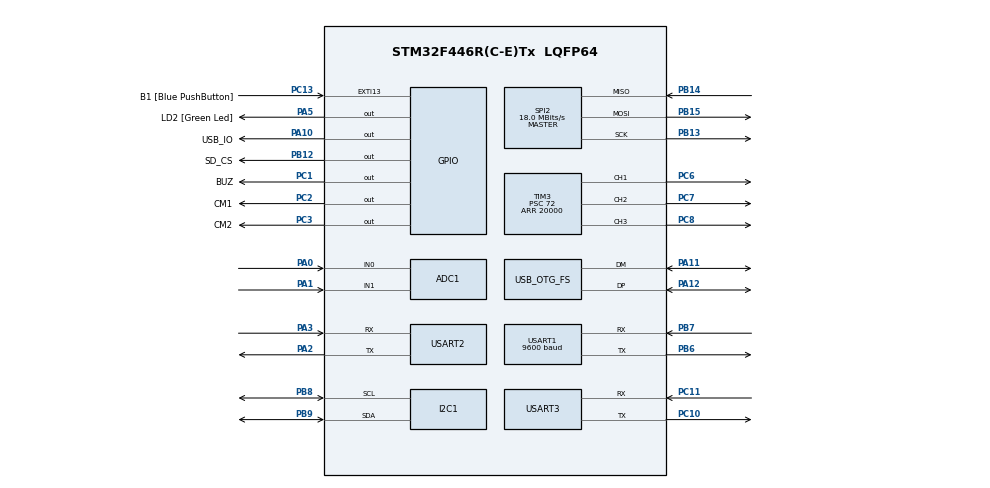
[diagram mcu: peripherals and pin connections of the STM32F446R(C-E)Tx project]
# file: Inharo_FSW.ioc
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ADC1.Channel-0\#ChannelRegularConversion=ADC_CHANNEL_0
ADC1.Channel-1\#ChannelRegularConversion=ADC_CHANNEL_1
ADC1.DiscontinuousConvMode=ENABLE
ADC1.NbrOfConversion=2
ADC1.NbrOfConversionFlag=1
ADC1.Rank-0\#ChannelRegularConversion=1
ADC1.Rank-1\#ChannelRegularConversion=2
ADC1.SamplingTime-0\#ChannelRegularConversion=ADC_SAMPLETIME_3CYCLES
ADC1.SamplingTime-1\#ChannelRegularConversion=ADC_SAMPLETIME_3CYCLES
ADC1.ScanConvMode=ENABLE
ADC1.master=1
Dma.Request0=USART3_RX
Dma.Request1=USART1_RX
Dma.USART1_RX.1.Direction=DMA_PERIPH_TO_MEMORY
Dma.USART1_RX.1.FIFOMode=DMA_FIFOMODE_DISABLE
Dma.USART1_RX.1.Instance=DMA2_Stream2
Dma.USART1_RX.1.MemDataAlignment=DMA_MDATAALIGN_BYTE
Dma.USART1_RX.1.MemInc=DMA_MINC_ENABLE
Dma.USART1_RX.1.Mode=DMA_CIRCULAR
Dma.USART1_RX.1.PeriphDataAlignment=DMA_PDATAALIGN_BYTE
Dma.USART1_RX.1.PeriphInc=DMA_PINC_DISABLE
Dma.USART1_RX.1.Priority=DMA_PRIORITY_VERY_HIGH
Dma.USART3_RX.0.Direction=DMA_PERIPH_TO_MEMORY
Dma.USART3_RX.0.FIFOMode=DMA_FIFOMODE_DISABLE
Dma.USART3_RX.0.Instance=DMA1_Stream1
Dma.USART3_RX.0.MemDataAlignment=DMA_MDATAALIGN_BYTE
Dma.USART3_RX.0.MemInc=DMA_MINC_ENABLE
Dma.USART3_RX.0.Mode=DMA_CIRCULAR
Dma.USART3_RX.0.PeriphDataAlignment=DMA_PDATAALIGN_BYTE
Dma.USART3_RX.0.PeriphInc=DMA_PINC_DISABLE
Dma.USART3_RX.0.Priority=DMA_PRIORITY_VERY_HIGH
FREERTOS.BinarySemaphores01=TransmitSemaphore,Dynamic,NULL;ReceiveSemaphore,Dynamic,NULL
FREERTOS.Events01=CommandEvent,Dynamic,NULL;EventReceive,Dynamic,NULL
FREERTOS.Tasks01=Main,24,128,vMainTask,Default,NULL,Dynamic,NULL,NULL;GPS,24,128,vGPSTask,Default,NULL,Dynamic,NULL,NULL;StateManaging,48,128,vStateManagingTask,Default,NULL,Dynamic,NULL,NULL;Receive,40,128,vReceiveTask,Default,NULL,Dynamic,NULL,NULL;Debug,8,128,vDebugTask,Default,NULL,Dynamic,NULL,NULL;TransmitLoop,8,128,vTransmitLoopTask,Default,NULL,Dynamic,NULL,NULL
FREERTOS.Timers01=SensorReading,vSensorReadingCallback,osTimerPeriodic,Default,NULL,Dynamic,NULL;Transmit,vTransmitCallback,osTimerPeriodic,Default,NULL,Dynamic,NULL
FREERTOS.configENABLE_FPU=1
FREERTOS.configTIMER_TASK_PRIORITY=6
FREERTOS.configUSE_NEWLIB_REENTRANT=1
I2C1.I2C_Mode=I2C_Fast
Mcu.Family=STM32F4
Mcu.Name=STM32F446R(C-E)Tx
Mcu.Package=LQFP64
NVIC.DMA1_Stream1_IRQn=true\:5\:0\:false\:false\:true\:true\:false\:true\:true
NVIC.DMA2_Stream2_IRQn=true\:5\:0\:false\:false\:true\:true\:false\:true\:true
NVIC.OTG_FS_IRQn=true\:5\:0\:false\:false\:true\:true\:false\:true\:true
NVIC.PriorityGroup=NVIC_PRIORITYGROUP_4
NVIC.TIM6_DAC_IRQn=true\:15\:0\:false\:false\:true\:false\:false\:true\:true
NVIC.TimeBase=TIM6_DAC_IRQn
NVIC.TimeBaseIP=TIM6
NVIC.USART1_IRQn=true\:5\:0\:false\:false\:true\:true\:true\:true\:true
NVIC.USART3_IRQn=true\:5\:0\:false\:false\:true\:true\:true\:true\:true
PA0-WKUP.Signal=ADCx_IN0
PA1.Signal=ADCx_IN1
PA10.GPIO_Label=USB_IO
PA10.Signal=GPIO_Output
PA11.Mode=Device_Only
PA11.Signal=USB_OTG_FS_DM
PA12.Mode=Device_Only
PA12.Signal=USB_OTG_FS_DP
PA13.Mode=Trace_Asynchronous_SW
PA13.Signal=SYS_JTMS-SWDIO
PA14.Mode=Trace_Asynchronous_SW
PA14.Signal=SYS_JTCK-SWCLK
PA2.Mode=Asynchronous
PA2.Signal=USART2_TX
PA3.Mode=Asynchronous
PA3.Signal=USART2_RX
PA5.GPIO_Label=LD2 [Green Led]
PA5.Signal=GPIO_Output
PB12.GPIO_Label=SD_CS
PB12.GPIO_Speed=GPIO_SPEED_FREQ_VERY_HIGH
PB12.Signal=GPIO_Output
PB13.Mode=Full_Duplex_Master
PB13.Signal=SPI2_SCK
PB14.Mode=Full_Duplex_Master
PB14.Signal=SPI2_MISO
PB15.Mode=Full_Duplex_Master
PB15.Signal=SPI2_MOSI
PB3.Mode=Trace_Asynchronous_SW
PB3.Signal=SYS_JTDO-SWO
PB6.Mode=Asynchronous
PB6.Signal=USART1_TX
PB7.Mode=Asynchronous
PB7.Signal=USART1_RX
PB8.Mode=I2C
PB8.Signal=I2C1_SCL
PB9.Mode=I2C
PB9.Signal=I2C1_SDA
PC1.GPIO_Label=BUZ
PC1.Signal=GPIO_Output
PC10.Mode=Asynchronous
PC10.Signal=USART3_TX
PC11.Mode=Asynchronous
PC11.Signal=USART3_RX
PC13.GPIO_Label=B1 [Blue PushButton]
PC13.GPIO_ModeDefaultEXTI=GPIO_MODE_IT_FALLING
PC13.Signal=GPXTI13
PC14-OSC32_IN.Mode=LSE-External-Oscillator
PC14-OSC32_IN.Signal=RCC_OSC32_IN
PC15-OSC32_OUT.Mode=LSE-External-Oscillator
PC15-OSC32_OUT.Signal=RCC_OSC32_OUT
PC2.GPIO_Label=CM1
PC2.Signal=GPIO_Output
PC3.GPIO_Label=CM2
PC3.Signal=GPIO_Output
PC6.Signal=S_TIM3_CH1
PC7.Signal=S_TIM3_CH2
PC8.Signal=S_TIM3_CH3
PH0-OSC_IN.Mode=HSE-External-Oscillator
PH0-OSC_IN.Signal=RCC_OSC_IN
PH1-OSC_OUT.Mode=HSE-External-Oscillator
PH1-OSC_OUT.Signal=RCC_OSC_OUT
ProjectManager.HeapSize=0x200
ProjectManager.StackSize=0x400
ProjectManager.TargetToolchain=STM32CubeIDE
RCC.AHBFreq_Value=72000000
RCC.APB1CLKDivider=RCC_HCLK_DIV2
RCC.APB1Freq_Value=36000000
RCC.APB1TimFreq_Value=72000000
RCC.APB2Freq_Value=72000000
RCC.APB2TimFreq_Value=72000000
RCC.CortexFreq_Value=72000000
RCC.HCLKFreq_Value=72000000
RCC.HSE_VALUE=12000000
RCC.PLLM=6
RCC.PLLN=72
RCC.PLLQ=3
RCC.RCC_RTC_Clock_SourceVirtual=RCC_RTCCLKSOURCE_LSE
RCC.SYSCLKFreq_VALUE=72000000
RCC.SYSCLKSource=RCC_SYSCLKSOURCE_PLLCLK
RCC.USBFreq_Value=48000000
RCC.VCOOutputFreq_Value=144000000
SH.ADCx_IN0.0=ADC1_IN0,IN0
SH.ADCx_IN1.0=ADC1_IN1,IN1
SH.S_TIM3_CH1.0=TIM3_CH1,PWM Generation1 CH1
SH.S_TIM3_CH2.0=TIM3_CH2,PWM Generation2 CH2
SH.S_TIM3_CH3.0=TIM3_CH3,PWM Generation3 CH3
SPI2.CalculateBaudRate=18.0 MBits/s
SPI2.Direction=SPI_DIRECTION_2LINES
SPI2.Mode=SPI_MODE_MASTER
SPI2.VirtualType=VM_MASTER
TIM3.Channel-PWM\ Generation1\ CH1=TIM_CHANNEL_1
TIM3.Channel-PWM\ Generation2\ CH2=TIM_CHANNEL_2
TIM3.Channel-PWM\ Generation3\ CH3=TIM_CHANNEL_3
TIM3.Period=20000
TIM3.Prescaler=72
USART1.BaudRate=9600
USART1.VirtualMode=VM_ASYNC
USART2.VirtualMode=VM_ASYNC
USART3.VirtualMode=VM_ASYNC
USB_DEVICE.CLASS_NAME_FS=CDC
USB_DEVICE.VirtualMode-CDC_FS=Cdc
USB_DEVICE.VirtualModeFS=Cdc_FS
USB_OTG_FS.VirtualMode=Device_Only
VP_FATFS_VS_Generic.Mode=User_defined
VP_FREERTOS_VS_CMSIS_V2.Mode=CMSIS_V2
VP_RTC_VS_RTC_Activate.Mode=RTC_Enabled
VP_RTC_VS_RTC_Calendar.Mode=RTC_Calendar
VP_SYS_VS_tim6.Mode=TIM6
VP_TIM3_VS_ClockSourceINT.Mode=Internal
VP_USB_DEVICE_VS_USB_DEVICE_CDC_FS.Mode=CDC_FS
board=custom

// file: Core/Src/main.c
/* USER CODE BEGIN Header */
/**
  ******************************************************************************
  * @file           : main.c
  * @brief          : Main program body
  ******************************************************************************
  * @attention
  *
  * Copyright (c) 2024 STMicroelectronics.
  * All rights reserved.
  *
  * This software is licensed under terms that can be found in the LICENSE file
  * in the root directory of this software component.
  * If no LICENSE file comes with this software, it is provided AS-IS.
  *
  ******************************************************************************
  */
/* USER CODE END Header */
#include "main.h"
#include "cmsis_os.h"
#include "fatfs.h"
#include "usb_device.h"

/* USER CODE BEGIN Includes */
#include "type.h"
#include <math.h>
#include "converter.h"
#include "circularBuffer.h"
#include "command.h"
/* USER CODE END Includes */

/* USER CODE BEGIN PTD */
typedef struct{
	// bmp390, scale: 100
	float altitude;
	float s_altitude;
	float temperature;
	uint64_t pressure;
	uint64_t s_pressure;
	// bno055
	double tilt_x;
	double tilt_y;
	double ang_x;
  double ang_y;
	double ang_z;
	double acc_x;
	double acc_y;
	double acc_z;
	double rot_x;
	double rot_y;
	double rot_z;
	double mag_x;
	double mag_y;
	double mag_z;
	// adc
	uint16_t adc_0;
	uint16_t adc_1;
	// battery voltage, scale: 100(x)
	float battery_voltage;
	// airspeed, scale: 100(x)
	float air_speed;
	uint8_t isUpdated;
}SensorDataContainerTypeDef;

typedef enum{
	CMD_ERR,
	CMD_ERR_ARG,
	CMD_ERR_COM,

	CMD_CX_ON,
	CMD_CX_OFF,

	CMD_ST_TIME,
	CMD_ST_GPS,

	CMD_SIM_ENABLE,
	CMD_SIM_ACTIVATE,
	CMD_SIM_DISABLE,

	CMD_SIMP,

	CMD_CAL,

	CMD_BCN_ON,
	CMD_BCN_OFF,

	CMD_DEP_HS,
	CMD_DEP_PC,

	CMD_REL_HS,

	CMD_TEST,

	CMD_INIT,

	CMD_RESET
}CMD_CommandCaseTypeDef;
/* USER CODE END PTD */

/* USER CODE BEGIN PD */
//#define DEBUG_MODE 1

#define ALTITUDE_POWER_COEFFICIENT ( (double) 0.190263105239812 )
#define ALTITUDE_PRODUCT_COEFFICIENT ( (double) -4.433076923076923e+4)
double r_pressure_sea_level = 1.0 / ( 101325.0 * 100.0 );

// scale 1
#define VEHICLE_ASCENT_THRESHOLD 	5
#define VEHICLE_HS_THRESHOLD 			10
#define VEHICLE_PC_THRESHOLD 			100
#define VEHICLE_LAND_THRESHOLD 		1

/* USER CODE END PD */

/* Definitions for Main */
osThreadId_t MainHandle;
const osThreadAttr_t Main_attributes = {
  .name = "Main",
  .stack_size = 128 * 8,
  .priority = (osPriority_t) osPriorityNormal,
};
/* Definitions for GPS */
osThreadId_t GPSHandle;
const osThreadAttr_t GPS_attributes = {
  .name = "GPS",
  .stack_size = 128 * 8,
  .priority = (osPriority_t) osPriorityNormal,
};
/* Definitions for StateManaging */
osThreadId_t StateManagingHandle;
const osThreadAttr_t StateManaging_attributes = {
  .name = "StateManaging",
  .stack_size = 128 * 8,
  .priority = (osPriority_t) osPriorityRealtime,
};
/* Definitions for Receive */
osThreadId_t ReceiveHandle;
const osThreadAttr_t Receive_attributes = {
  .name = "Receive",
  .stack_size = 128 * 8,
  .priority = (osPriority_t) osPriorityHigh,
};
/* Definitions for Debug */
osThreadId_t DebugHandle;
const osThreadAttr_t Debug_attributes = {
  .name = "Debug",
  .stack_size = 128 * 8,
  .priority = (osPriority_t) osPriorityLow,
};
/* Definitions for TransmitLoop */
osThreadId_t TransmitLoopHandle;
const osThreadAttr_t TransmitLoop_attributes = {
  .name = "TransmitLoop",
  .stack_size = 128 * 8,
  .priority = (osPriority_t) osPriorityLow,
};
/* Definitions for SensorReading */
osTimerId_t SensorReadingHandle;
const osTimerAttr_t SensorReading_attributes = {
  .name = "SensorReading"
};
/* Definitions for Transmit */
osTimerId_t TransmitHandle;
const osTimerAttr_t Transmit_attributes = {
  .name = "Transmit"
};
/* Definitions for TransmitSemaphore */
osSemaphoreId_t TransmitSemaphoreHandle;
const osSemaphoreAttr_t TransmitSemaphore_attributes = {
  .name = "TransmitSemaphore"
};
/* Definitions for ReceiveSemaphore */
osSemaphoreId_t ReceiveSemaphoreHandle;
const osSemaphoreAttr_t ReceiveSemaphore_attributes = {
  .name = "ReceiveSemaphore"
};
/* Definitions for CommandEvent */
osEventFlagsId_t CommandEventHandle;
const osEventFlagsAttr_t CommandEvent_attributes = {
  .name = "CommandEvent"
};
/* Definitions for EventReceive */
osEventFlagsId_t EventReceiveHandle;
const osEventFlagsAttr_t EventReceive_attributes = {
  .name = "EventReceive"
};
/* USER CODE BEGIN PV */

Servo_HandleTypeDef hservo1, hservo2, hservo3;
USB_Buffer_Type usb_rx_buffer;

// System Command Variable
uint8_t isCommunication	 		= IH_CX_OFF;
uint8_t isTimeSetGPS 		 		= FALSE;
uint8_t isSimulationMode 		= FALSE;
uint8_t isSimulationEnable 	= FALSE;
uint32_t sim_pressure = 10132500;

//
SensorDataContainerTypeDef sensor_data_container = {0, };
VehicleStateTypeDef vehicle_state = VEHICLE_RESET;
CommandEcho cmd_echo = 0;
uint8_t isHSDeployed = FALSE;
uint8_t isPCDeployed = FALSE;

uint8_t IH_UART1_headerPass = 0;
uint8_t IH_UART1_pMessage = 0;
uint8_t IH_UART1_byteBuf = 0;
uint8_t IH_UART1_buf[IH_UART1_MAX_LENGTH] ={0,};

// Communication definition;
uint32_t packetCount = 1;
uint8_t uart1_rx_buffer[1];
uint8_t uart3_rx_buffer[1];
uint32_t receive_tick;
XBEE_Packet_Buffer xbee_rx_buffer;
GPS_Packet_Buffer gps_rx_buffer;
TLE_Circular_Buffer cb_tle;
uint16_t ack_packet = 0;

// XBee Sample
uint8_t tx_packet[PACKET_SIZE];
Telemetry telemetry;

// GPS
GPS_DataTypeDef gps_data;

/* USER CODE END PV */

void vMainTask(void *argument);
void vGPSTask(void *argument);
void vStateManagingTask(void *argument);
void vReceiveTask(void *argument);
void vDebugTask(void *argument);
void vTransmitLoopTask(void *argument);
void vSensorReadingCallback(void *argument);
void vTransmitCallback(void *argument);

/* USER CODE BEGIN PFP */
static void _BMP390_Init(void);
static void _BNO055_Init(void);
static void _SD_Init(void);
static void _Servo_Init(void);
void Calibrate(void);
void Backup(void);
void BackupRecovery(void);

uint8_t CDC_Transmit_FS(uint8_t* Buf, uint16_t Len);
/* USER CODE END PFP */

int main(void)
{

  /* MCU Configuration--------------------------------------------------------*/

  /* Reset of all peripherals, Initializes the Flash interface and the Systick. */
  HAL_Init();

  /* Configure the system clock */
  SystemClock_Config();

  /* Initialize all configured peripherals */
  MX_GPIO_Init();
  MX_DMA_Init();
  MX_ADC1_Init();
  MX_I2C1_Init();
  MX_RTC_Init();
  MX_SPI2_Init();
  MX_TIM3_Init();
  MX_USART1_UART_Init();
  MX_USART2_UART_Init();
  MX_USART3_UART_Init();
  MX_FATFS_Init();
  /* USER CODE BEGIN 2 */
  logi("Initializing...");

  _BMP390_Init();
  _BNO055_Init();
  _SD_Init();
  _Servo_Init();

  cb_init(&cb_tle, TLE_Circular_Buffer_Size, sizeof(Telemetry));
  logi("Initialized");

  /* USER CODE END 2 */

  /* Init scheduler */
  osKernelInitialize();

  /* Create the semaphores(s) */
  /* creation of TransmitSemaphore */
  TransmitSemaphoreHandle = osSemaphoreNew(1, 1, &TransmitSemaphore_attributes);

  /* creation of ReceiveSemaphore */
  ReceiveSemaphoreHandle = osSemaphoreNew(1, 1, &ReceiveSemaphore_attributes);

  /* Create the timer(s) */
  /* creation of SensorReading */
  SensorReadingHandle = osTimerNew(vSensorReadingCallback, osTimerPeriodic, NULL, &SensorReading_attributes);

  /* creation of Transmit */
  TransmitHandle = osTimerNew(vTransmitCallback, osTimerPeriodic, NULL, &Transmit_attributes);

  /* USER CODE BEGIN RTOS_TIMERS */
  /* start timers, add new ones, ... */
  osTimerStart(SensorReadingHandle, 500);
  osTimerStart(TransmitHandle, 900);
  /* USER CODE END RTOS_TIMERS */

  /* Create the thread(s) */
  /* creation of Main */
  MainHandle = osThreadNew(vMainTask, NULL, &Main_attributes);

  /* creation of GPS */
  GPSHandle = osThreadNew(vGPSTask, NULL, &GPS_attributes);

  /* creation of StateManaging */
  StateManagingHandle = osThreadNew(vStateManagingTask, NULL, &StateManaging_attributes);

  /* creation of Receive */
  ReceiveHandle = osThreadNew(vReceiveTask, NULL, &Receive_attributes);

  /* creation of Debug */
  DebugHandle = osThreadNew(vDebugTask, NULL, &Debug_attributes);

  /* creation of TransmitLoop */
  TransmitLoopHandle = osThreadNew(vTransmitLoopTask, NULL, &TransmitLoop_attributes);

  /* Create the event(s) */
  /* creation of CommandEvent */
  CommandEventHandle = osEventFlagsNew(&CommandEvent_attributes);

  /* creation of EventReceive */
  EventReceiveHandle = osEventFlagsNew(&EventReceive_attributes);

  /* Start scheduler */
  osKernelStart();
  /* We should never get here as control is now taken by the scheduler */
  /* Infinite loop */
  while (1)
  {

  }
}

/* USER CODE BEGIN 4 */

void HAL_UART_RxCpltCallback(UART_HandleTypeDef *huart)
{
	// USART1 - GPS Communication
	// USART3 - XBEE Communication
  if(huart->Instance == USART3)
  {
  	// Buffer Timeout
  	if(HAL_GetTick() - receive_tick > 100) {
  		xbee_rx_buffer.isReceiving = FALSE;
  		receive_tick = HAL_GetTick();
  	}

  	// Header Byte Detection
  	if(xbee_rx_buffer.isReceiving == FALSE) {
  		if(uart3_rx_buffer[0] == IH_UART3_HEADER){
  			memset(&xbee_rx_buffer,0, sizeof(xbee_rx_buffer));
  			xbee_rx_buffer.isReceiving = TRUE;
  	  	++xbee_rx_buffer.pos;
  		}
  		return;
  	}

  	// Get Data(0~1 : Length, 2~n : Data, n+1 : Checksum)
  	if(xbee_rx_buffer.pos == 0) {
  		xbee_rx_buffer.length = 0;
  	} else if(xbee_rx_buffer.pos == 1) {
  		xbee_rx_buffer.length = uart3_rx_buffer[0] * 0xFF;
  	} else if(xbee_rx_buffer.pos == 2) {
  		xbee_rx_buffer.length += uart3_rx_buffer[0];

  		// Invalid length data
  	  if(xbee_rx_buffer.length >= PACKET_SIZE) {
  	  	xbee_rx_buffer.isReceiving = FALSE;
  	  }
  	} else if(xbee_rx_buffer.pos < xbee_rx_buffer.length + IH_UART3_HEADER_OFFSET){
  		xbee_rx_buffer.buffer[xbee_rx_buffer.pos-IH_UART3_HEADER_OFFSET] = uart3_rx_buffer[0];
  		xbee_rx_buffer.checksum += uart3_rx_buffer[0];
  	} else if(xbee_rx_buffer.pos >= xbee_rx_buffer.length + IH_UART3_HEADER_OFFSET) {
  		// Checksum
  		xbee_rx_buffer.checksum = (uint8_t) xbee_rx_buffer.checksum;
			xbee_rx_buffer.checksum = 0xFF - xbee_rx_buffer.checksum;

			// Set Event Flags
			if(osSemaphoreAcquire(ReceiveSemaphoreHandle, 0) == osOK) {
				if (xbee_rx_buffer.checksum == uart3_rx_buffer[0]) {
					osEventFlagsSet(EventReceiveHandle, EVENT_RECEIVE_XBEE | EVENT_RECEIVE_SUCCESS);
				} else {
					osEventFlagsSet(EventReceiveHandle, EVENT_RECEIVE_XBEE | EVENT_RECEIVE_FAIL);
				}
				osSemaphoreRelease(ReceiveSemaphoreHandle);
			}
			xbee_rx_buffer.isReceiving = FALSE;
			return;
  	}

  	++xbee_rx_buffer.pos;

  	// Unlock Buffer
  	osSemaphoreRelease(ReceiveSemaphoreHandle);
  }
  else if(huart->Instance == USART1) {
#ifdef GET_GPS
  	CDC_Transmit_FS(uart1_rx_buffer, 1);
#endif
		// Buffer Timeout
		if (HAL_GetTick() - receive_tick > 100) {
			gps_rx_buffer.isReceiving = FALSE;
			receive_tick = HAL_GetTick();
		}

		// Header Byte Detection
		if(gps_rx_buffer.isReceiving == FALSE) {
			if(uart1_rx_buffer[0] == IH_UART1_HEADER){
				memset(&gps_rx_buffer,0, sizeof(gps_rx_buffer));
				gps_rx_buffer.isReceiving = TRUE;
				++gps_rx_buffer.pos;
			}
			return;
		}

		// Get DeviceID
		if(gps_rx_buffer.pos == 1) {
			gps_rx_buffer.deviceID[0] = uart1_rx_buffer[0];
		} else if(gps_rx_buffer.pos == 2) {
			gps_rx_buffer.deviceID[1] = uart1_rx_buffer[0];
		}
		// Get SentenceID
		else if(gps_rx_buffer.pos == 3) {
			gps_rx_buffer.sentenceID[0] = uart1_rx_buffer[0];
		} else if(gps_rx_buffer.pos == 4) {
			gps_rx_buffer.sentenceID[1] = uart1_rx_buffer[0];
		} else if(gps_rx_buffer.pos == 5) {
			gps_rx_buffer.sentenceID[2] = uart1_rx_buffer[0];
		}
		// Get Checksum
		else if(gps_rx_buffer.pos == UINT16_MAX-1) {
			gps_rx_buffer.chk[0] = uart1_rx_buffer[0];
			++gps_rx_buffer.pos;
			return;
		} else if(gps_rx_buffer.pos == UINT16_MAX) {
			gps_rx_buffer.chk[1] = uart1_rx_buffer[0];

			// Set Event Flags
			if (osSemaphoreAcquire(ReceiveSemaphoreHandle, 0) == osOK) {
				if (gps_rx_buffer.checksum == HexCharToByte(gps_rx_buffer.chk[0], gps_rx_buffer.chk[1])) {
					osEventFlagsSet(EventReceiveHandle, EVENT_RECEIVE_GPS | EVENT_RECEIVE_SUCCESS);
				} else {
					osEventFlagsSet(EventReceiveHandle, EVENT_RECEIVE_GPS | EVENT_RECEIVE_FAIL);
				}
				osSemaphoreRelease(ReceiveSemaphoreHandle);
			}

			gps_rx_buffer.isReceiving = FALSE;
			return;
		}
		// Get Data
		else if(gps_rx_buffer.pos > 5) {
			// Invalid length
			if(gps_rx_buffer.pos - IH_UART1_HEADER_OFFSET >= PACKET_SIZE) {
				gps_rx_buffer.isReceiving = FALSE;
				return;
			}

			// Termination
			if(uart1_rx_buffer[0] == IH_UART1_TERMINATOR) {
				gps_rx_buffer.pos = UINT16_MAX-1;
				return;
			}

			// Data Write
			gps_rx_buffer.buffer[gps_rx_buffer.pos - IH_UART1_HEADER_OFFSET] = uart1_rx_buffer[0];
			++gps_rx_buffer.length;
		}
		//Checksum and Increment
		gps_rx_buffer.checksum ^= uart1_rx_buffer[0];
		++gps_rx_buffer.pos;

  }

}

static void _BMP390_Init(void){
	BMP390_AssignI2C(&hi2c1);
	BMP390_Init();
}
static void _BNO055_Init(void){
	bno055_assignI2C(&hi2c1);
	bno055_setup();
	bno055_setOperationModeNDOF();
}
static void _SD_Init(void){
	SD_Assign(&hspi2);
	retUSER = f_mount(&USERFatFS, USERPath, 1);
	if ( retUSER != FR_OK ) {
		loge("SD Init Fail");
	}
}
static void _Servo_Init(void){
	Servo_Attach(&hservo1, &htim3, TIM_CHANNEL_1);	// heat shield deploy servo
	Servo_Attach(&hservo2, &htim3, TIM_CHANNEL_2);	// heat shield release servo
	Servo_Attach(&hservo3, &htim3, TIM_CHANNEL_3);	// parachute deploy servo
	HAL_TIM_PWM_Start_IT(&htim3, TIM_CHANNEL_1);
	HAL_TIM_PWM_Start_IT(&htim3, TIM_CHANNEL_2);
	HAL_TIM_PWM_Start_IT(&htim3, TIM_CHANNEL_3);
	Servo_Write(&hservo1, 0);
	Servo_Write(&hservo2, 180);
	Servo_Write(&hservo3, 0);
}

void Calibrate(void){
	if(osSemaphoreAcquire(TransmitSemaphoreHandle, 100) != osOK) {
		return;
	}
	bno055_calibration_data_t bno055_cal_data;

	uint32_t cal_zero_altitude0 = 0;
	uint32_t cal_zero_altitude1 = 0;
	uint32_t	cal_zero_velocity0 = 0;
	uint32_t	cal_zero_velocity1 = 0;
	uint32_t	cal_gyro_ofst_x_gyro_ofst_y = 0;
	uint32_t	cal_gyro_ofst_z_mag_ofst_x = 0;
	uint32_t	cal_mag_ofst_y_mag_ofst_z = 0;
	uint32_t	cal_acc_ofst_x_acc_ofst_y = 0;
	uint32_t	cal_acc_ofst_z_reserved = 0;
	uint32_t	cal_rad_mag_rad_acc = 0;

	// get bno055 calibration data
	//if(bno055_getCalibrationState().sys < 0x03) return 1; // 주석  ??   ?
//	if(bno055_getCalibrationState() < 0x02) return 1;
//	if(bno055_getCalibrationState() < 0x01) return 1;
	bno055_cal_data = bno055_getCalibrationData();

	// zero altitude calibration; simulation pressure is calibrated when first SIMP command received
	r_pressure_sea_level = 1.0 / sensor_data_container.pressure;

	// calibrate velocity calculation
	DP_calcCalibrationFromADC(sensor_data_container.adc_1);

	// make calibration data for RTC backup register
	union{
		double  val_double;
		uint32_t val_uint32[2];
	}double_to_uint32;

	union{
		int16_t val_int16[2];
		uint32_t val_uint32;
	}int16_to_uint32;

	union{
		uint16_t val_uint16[2];
		uint32_t val_uint32;
	}uint16_to_uint32;

	double_to_uint32.val_double 		= r_pressure_sea_level;
	cal_zero_altitude0 							= double_to_uint32.val_uint32[0];
	cal_zero_altitude1 							= double_to_uint32.val_uint32[1];

	double_to_uint32.val_double 		= DP_getCalibration();
	cal_zero_velocity0 							= double_to_uint32.val_uint32[0];
	cal_zero_velocity1 							= double_to_uint32.val_uint32[1];

	int16_to_uint32.val_int16[0] 		= bno055_cal_data.offset.gyro.x;
	int16_to_uint32.val_int16[1] 		= bno055_cal_data.offset.gyro.y;
	cal_gyro_ofst_x_gyro_ofst_y 		= int16_to_uint32.val_uint32;

	int16_to_uint32.val_int16[0] 		= bno055_cal_data.offset.gyro.z;
	int16_to_uint32.val_int16[1] 		= bno055_cal_data.offset.mag.x;
	cal_gyro_ofst_z_mag_ofst_x  		=	int16_to_uint32.val_uint32;

	int16_to_uint32.val_int16[0] 		= bno055_cal_data.offset.mag.y;
	int16_to_uint32.val_int16[1] 		= bno055_cal_data.offset.mag.z;
	cal_mag_ofst_y_mag_ofst_z   		= int16_to_uint32.val_uint32;

	int16_to_uint32.val_int16[0] 		= bno055_cal_data.offset.accel.x;
	int16_to_uint32.val_int16[1] 		= bno055_cal_data.offset.accel.y;
	cal_acc_ofst_x_acc_ofst_y   		= int16_to_uint32.val_uint32;

	int16_to_uint32.val_int16[0] 		= bno055_cal_data.offset.accel.z;
	int16_to_uint32.val_int16[1] 		= 0;
	cal_acc_ofst_z_reserved     		= int16_to_uint32.val_uint32;

	uint16_to_uint32.val_uint16[0] 	= bno055_cal_data.radius.mag;
	uint16_to_uint32.val_uint16[1] 	= bno055_cal_data.radius.accel;
	cal_rad_mag_rad_acc     				= uint16_to_uint32.val_uint32;

	// save calibration data
  HAL_RTCEx_BKUPWrite(&hrtc, RTC_BKP_DR2,		cal_zero_altitude0);
  HAL_RTCEx_BKUPWrite(&hrtc, RTC_BKP_DR3,		cal_zero_altitude1);
  HAL_RTCEx_BKUPWrite(&hrtc, RTC_BKP_DR6,		cal_zero_velocity0);
  HAL_RTCEx_BKUPWrite(&hrtc, RTC_BKP_DR7,		cal_zero_velocity1);
  HAL_RTCEx_BKUPWrite(&hrtc, RTC_BKP_DR8,  	cal_gyro_ofst_x_gyro_ofst_y);
  HAL_RTCEx_BKUPWrite(&hrtc, RTC_BKP_DR9,  	cal_gyro_ofst_z_mag_ofst_x);
  HAL_RTCEx_BKUPWrite(&hrtc, RTC_BKP_DR10, 	cal_mag_ofst_y_mag_ofst_z);
  HAL_RTCEx_BKUPWrite(&hrtc, RTC_BKP_DR11, 	cal_acc_ofst_x_acc_ofst_y);
  HAL_RTCEx_BKUPWrite(&hrtc, RTC_BKP_DR12, 	cal_acc_ofst_z_reserved);
  HAL_RTCEx_BKUPWrite(&hrtc, RTC_BKP_DR13, 	cal_rad_mag_rad_acc);

  osSemaphoreRelease(TransmitSemaphoreHandle);
}

void Backup(void){
	if(osSemaphoreAcquire(TransmitSemaphoreHandle, 100) != osOK) {
			return;
	}

	bno055_calibration_data_t bno055_cal_data;
	uint32_t	bkp_vehicle =0;
	uint32_t	bkp_packet_count = 0;
	uint32_t 	cal_zero_altitude0 = 0;
	uint32_t 	cal_zero_altitude1 = 0;
	uint32_t 	cal_s_zero_altitude0 = 0;
	uint32_t 	cal_s_zero_altitude1 = 0;
	uint32_t	cal_zero_velocity0 = 0;
	uint32_t	cal_zero_velocity1 = 0;
	uint32_t	cal_gyro_ofst_x_gyro_ofst_y = 0;
	uint32_t	cal_gyro_ofst_z_mag_ofst_x = 0;
	uint32_t	cal_mag_ofst_y_mag_ofst_z = 0;
	uint32_t	cal_acc_ofst_x_acc_ofst_y = 0;
	uint32_t	cal_acc_ofst_z_reserved = 0;
	uint32_t	cal_rad_mag_rad_acc = 0;

	union{
		uint8_t 	val_uint8[4];
		uint32_t	val_uint32;
	}uint8_to_uint32;
	union{
		double 		val_double;
		uint32_t 	val_uint32[2];
	}double_to_uint32;
	union{
		int16_t 	val_int16[2];
		uint32_t 	val_uint32;
	}int16_to_uint32;
	union{
		int16_t 	val_uint16[2];
		uint32_t 	val_uint32;
	}uint16_to_uint32;

	uint8_to_uint32.val_uint8[0] 		= 0;
	uint8_to_uint32.val_uint8[1] 		= 0;
	uint8_to_uint32.val_uint8[2] 		= ( uint8_t ) vehicle_state;
//	uint8_to_uint32.val_uint8[3]	 	= ( uint8_t ) ( ( ( val_CX & 0x01 ) << 1 ) | 0x01 );
	uint8_to_uint32.val_uint8[3] 		= isCommunication;
	bkp_vehicle 										= uint8_to_uint32.val_uint32;

	bkp_packet_count 								= packetCount;

	double_to_uint32.val_double 		= r_pressure_sea_level;
	cal_zero_altitude0 							= double_to_uint32.val_uint32[0];
	cal_zero_altitude1 							= double_to_uint32.val_uint32[1];

//	double_to_uint32.val_double 	= r_s_pressure_sea_level;
//	cal_s_zero_altitude0 					= double_to_uint32.val_uint32[0];
//	cal_s_zero_altitude1 					= double_to_uint32.val_uint32[1];

	double_to_uint32.val_double			= DP_getCalibration();
	cal_zero_velocity0 							= double_to_uint32.val_uint32[0];
	cal_zero_velocity1 							= double_to_uint32.val_uint32[1];

	bno055_cal_data = bno055_getCalibrationData();

	int16_to_uint32.val_int16[0] 		= bno055_cal_data.offset.gyro.x;
	int16_to_uint32.val_int16[1] 		= bno055_cal_data.offset.gyro.y;
	cal_gyro_ofst_x_gyro_ofst_y 		= int16_to_uint32.val_uint32;

	int16_to_uint32.val_int16[0] 		= bno055_cal_data.offset.gyro.z;
	int16_to_uint32.val_int16[1] 		= bno055_cal_data.offset.mag.x;
	cal_gyro_ofst_z_mag_ofst_x  		=	int16_to_uint32.val_uint32;

	int16_to_uint32.val_int16[0] 		= bno055_cal_data.offset.mag.y;
	int16_to_uint32.val_int16[1] 		= bno055_cal_data.offset.mag.z;
	cal_mag_ofst_y_mag_ofst_z   		= int16_to_uint32.val_uint32;

	int16_to_uint32.val_int16[0] 		= bno055_cal_data.offset.accel.x;
	int16_to_uint32.val_int16[1] 		= bno055_cal_data.offset.accel.y;
	cal_acc_ofst_x_acc_ofst_y   		= int16_to_uint32.val_uint32;

	int16_to_uint32.val_int16[0] 		= bno055_cal_data.offset.accel.z;
	int16_to_uint32.val_int16[1] 		= 0;
	cal_acc_ofst_z_reserved     		= int16_to_uint32.val_uint32;

	uint16_to_uint32.val_uint16[0] 	= bno055_cal_data.radius.mag;
	uint16_to_uint32.val_uint16[1] 	= bno055_cal_data.radius.accel;
	cal_rad_mag_rad_acc     				= uint16_to_uint32.val_uint32;

	// save calibration data
  HAL_RTCEx_BKUPWrite(&hrtc, RTC_BKP_DR0,		bkp_vehicle);
  HAL_RTCEx_BKUPWrite(&hrtc, RTC_BKP_DR1,		bkp_packet_count);
  HAL_RTCEx_BKUPWrite(&hrtc, RTC_BKP_DR2,		cal_zero_altitude0);
  HAL_RTCEx_BKUPWrite(&hrtc, RTC_BKP_DR3,		cal_zero_altitude1);
  HAL_RTCEx_BKUPWrite(&hrtc, RTC_BKP_DR4,		cal_s_zero_altitude0);
  HAL_RTCEx_BKUPWrite(&hrtc, RTC_BKP_DR5,		cal_s_zero_altitude1);
  HAL_RTCEx_BKUPWrite(&hrtc, RTC_BKP_DR6,		cal_zero_velocity0);
  HAL_RTCEx_BKUPWrite(&hrtc, RTC_BKP_DR7,		cal_zero_velocity1);
  HAL_RTCEx_BKUPWrite(&hrtc, RTC_BKP_DR8,  	cal_gyro_ofst_x_gyro_ofst_y);
  HAL_RTCEx_BKUPWrite(&hrtc, RTC_BKP_DR9,  	cal_gyro_ofst_z_mag_ofst_x);
  HAL_RTCEx_BKUPWrite(&hrtc, RTC_BKP_DR10, 	cal_mag_ofst_y_mag_ofst_z);
  HAL_RTCEx_BKUPWrite(&hrtc, RTC_BKP_DR11, 	cal_acc_ofst_x_acc_ofst_y);
  HAL_RTCEx_BKUPWrite(&hrtc, RTC_BKP_DR12, 	cal_acc_ofst_z_reserved);
  HAL_RTCEx_BKUPWrite(&hrtc, RTC_BKP_DR13, 	cal_rad_mag_rad_acc);

  osSemaphoreRelease(TransmitSemaphoreHandle);
}

void BackupRecovery(void){
	if(osSemaphoreAcquire(TransmitSemaphoreHandle, 100) != osOK) {
				return;
	}

	bno055_calibration_data_t bno055_cal_data;
	uint32_t 	bkp_vehicle;
	uint32_t 	bkp_packet_count;
	uint32_t 	cal_zero_altitude0;
	uint32_t 	cal_zero_altitude1;
	uint32_t 	cal_s_zero_altitude0;
	uint32_t 	cal_s_zero_altitude1;
	uint32_t	cal_zero_velocity0;
	uint32_t	cal_zero_velocity1;
	uint32_t	cal_gyro_ofst_x_gyro_ofst_y;
	uint32_t	cal_gyro_ofst_z_mag_ofst_x;
	uint32_t	cal_mag_ofst_y_mag_ofst_z;
	uint32_t	cal_acc_ofst_x_acc_ofst_y;
	uint32_t	cal_acc_ofst_z_reserved;
	uint32_t	cal_rad_mag_rad_acc;

	// load calibration data / backup data
	bkp_vehicle 								= HAL_RTCEx_BKUPRead(&hrtc, RTC_BKP_DR0);
	bkp_packet_count 						= HAL_RTCEx_BKUPRead(&hrtc, RTC_BKP_DR1);
	cal_zero_altitude0 					= HAL_RTCEx_BKUPRead(&hrtc, RTC_BKP_DR2);
	cal_zero_altitude1 					= HAL_RTCEx_BKUPRead(&hrtc, RTC_BKP_DR3);
	cal_s_zero_altitude0 				= HAL_RTCEx_BKUPRead(&hrtc, RTC_BKP_DR4);
	cal_s_zero_altitude1 				= HAL_RTCEx_BKUPRead(&hrtc, RTC_BKP_DR5);
	cal_zero_velocity0 					= HAL_RTCEx_BKUPRead(&hrtc, RTC_BKP_DR6);
	cal_zero_velocity1 					= HAL_RTCEx_BKUPRead(&hrtc, RTC_BKP_DR7);
	cal_gyro_ofst_x_gyro_ofst_y	= HAL_RTCEx_BKUPRead(&hrtc, RTC_BKP_DR8);
	cal_gyro_ofst_z_mag_ofst_x 	= HAL_RTCEx_BKUPRead(&hrtc, RTC_BKP_DR9);
	cal_mag_ofst_y_mag_ofst_z 	= HAL_RTCEx_BKUPRead(&hrtc, RTC_BKP_DR10);
	cal_acc_ofst_x_acc_ofst_y 	= HAL_RTCEx_BKUPRead(&hrtc, RTC_BKP_DR11);
	cal_acc_ofst_z_reserved 		= HAL_RTCEx_BKUPRead(&hrtc, RTC_BKP_DR12);
	cal_rad_mag_rad_acc 				= HAL_RTCEx_BKUPRead(&hrtc, RTC_BKP_DR13);

	union{
		uint32_t	val_uint32;
		uint8_t 	val_uint8[4];
	}uint32_to_uint8;
	union{
		uint32_t 	val_uint32[2];
		double 		val_double;
	}uint32_to_double;
	union{
		uint32_t 	val_uint32;
		int16_t 	val_int16[2];
	}uint32_to_int16;
	union{
		uint32_t 	val_uint32;
		int16_t 	val_uint16[2];
	}uint32_to_uint16;

	uint32_to_uint8.val_uint32 = bkp_vehicle;
	isCommunication = uint32_to_uint8.val_uint8[3] == 0 ? IH_CX_OFF : IH_CX_ON;

	vehicle_state = uint32_to_uint8.val_uint8[2];
//	val_CX = 0b00000010U & uint32_to_uint8.val_uint8[3];

	if((vehicle_state & STATE_MASK) == STATE_LAUNCH_WAIT || (vehicle_state & STATE_MASK) == STATE_LANDED) {
		vehicle_state = VEHICLE_RESET;
  }

	if(vehicle_state == VEHICLE_RESET) {
		packetCount = 0;
	} else {
		packetCount = bkp_packet_count;
	}

	uint32_to_double.val_uint32[0] = cal_zero_altitude0;
	uint32_to_double.val_uint32[1] = cal_zero_altitude1;
	r_pressure_sea_level = uint32_to_double.val_double;

	uint32_to_double.val_uint32[0] = cal_s_zero_altitude0;
	uint32_to_double.val_uint32[1] = cal_s_zero_altitude1;
//	r_s_pressure_sea_level = uint32_to_double.val_double;

	uint32_to_double.val_uint32[0] = cal_zero_velocity0;
	uint32_to_double.val_uint32[1] = cal_zero_velocity1;
	DP_setCalibrationFromDouble(uint32_to_double.val_double);

	uint32_to_int16.val_uint32 = cal_gyro_ofst_x_gyro_ofst_y;
	bno055_cal_data.offset.gyro.x = uint32_to_int16.val_int16[0];
	bno055_cal_data.offset.gyro.y = uint32_to_int16.val_int16[1];

	uint32_to_int16.val_uint32 = cal_gyro_ofst_z_mag_ofst_x;
	bno055_cal_data.offset.gyro.z = uint32_to_int16.val_int16[0];
	bno055_cal_data.offset.mag.x = uint32_to_int16.val_int16[1];

	uint32_to_int16.val_uint32 = cal_mag_ofst_y_mag_ofst_z;
	bno055_cal_data.offset.mag.y = uint32_to_int16.val_int16[0];
	bno055_cal_data.offset.mag.z = uint32_to_int16.val_int16[1];

	uint32_to_int16.val_uint32 = cal_acc_ofst_x_acc_ofst_y;
	bno055_cal_data.offset.accel.x = uint32_to_int16.val_int16[0];
	bno055_cal_data.offset.accel.y = uint32_to_int16.val_int16[1];

	uint32_to_int16.val_uint32 = cal_acc_ofst_z_reserved;
	bno055_cal_data.offset.accel.z = uint32_to_int16.val_int16[0];

	uint32_to_uint16.val_uint32 = cal_rad_mag_rad_acc;
	bno055_cal_data.radius.mag = uint32_to_uint16.val_uint16[0];
	bno055_cal_data.radius.accel = uint32_to_uint16.val_uint16[1];

	bno055_setCalibrationData(bno055_cal_data);

	osSemaphoreRelease(TransmitSemaphoreHandle);
}

void SendTelemetry(Telemetry* tle) {
	// packet header
	tx_packet[0] = 0x7E;

	uint16_t length = TELEMETRY_PACKET_SIZE - 4;
	tx_packet[1] = length >> 8;
	tx_packet[2] = (uint8_t) length;
	tx_packet[3] = FRAME_TYPE_TX;
	tx_packet[4] = 0x01;
	tx_packet[5] = FRAME_ADDRESS_HIGH;
	tx_packet[6] = FRAME_ADDRESS_LOW;
	tx_packet[7] = 0;
	memcpy(&tx_packet[8], tle, sizeof(Telemetry));

	// checksum
	uint16_t checksum = 0;
	for (uint8_t i = 3; i < TELEMETRY_PACKET_SIZE - 1; i++) {
		checksum += tx_packet[i];
	}
	checksum = 0xFF - ((uint8_t) checksum);
	tx_packet[TELEMETRY_PACKET_SIZE - 1] = checksum;

	// send
	HAL_UART_Transmit(&huart3, tx_packet, sizeof(tx_packet), 100);
}

void RFParsing(uint8_t *data, size_t length) {
	if (length < 11) {
		return;
	}
	uint32_t cmd = 0;
	uint32_t teamID = 0;

	if (data[3] != ',') {
		return;
	}
	if (data[8] != ',') {
		return;
	}

	memcpy(&cmd, data, 3);
	memcpy(&teamID, data + 4, 4);

	if (teamID != RX_HEADER_TEAM_ID) {
		return;
	}
	if (cmd == RX_HEADER_CMD) {
		uint8_t command[8];
		uint8_t argument[20];
		uint8_t start = 8; // second comma position
		memset(command, 0, sizeof(command));
		memset(argument, 0, sizeof(argument));

		//Parsing third field
		for (int i = 9; i < length; i++) {
			if (data[i] == ',') {
				memcpy(command, data + start + 1, i - start - 1);
				start = i;
			}
		}

		//Parsing forth field
		memcpy(argument, data + start + 1, length - start - 1);

		uint64_t Icommand = 0;

		memcpy(&Icommand, command, 8);
		switch (Icommand) {
		case RX_CMD_CX: {
			if (WeakCharCompare(argument, "ON")) {
				CMD_excuteCX_ON();
			} else {
				CMD_excuteCX_OFF();
			}
			break;
		}

		case RX_CMD_ST: {
			if (WeakCharCompare(argument, "GPS")) {
				CMD_excuteST_GPS();
			} else {
				CMD_excuteST_TIME(argument);
			}
			break;
		}

		case RX_CMD_BCN: {
			if (WeakCharCompare(argument, "ON")) {
				CMD_excuteBCN_ON();
			} else if (WeakCharCompare(argument, "OFF")) {
				CMD_excuteBCN_OFF();
			}
			break;
		}

		case RX_CMD_CAL: {
			CMD_excuteCAL();
			break;
		}

		case RX_CMD_SIM: {
			if (WeakCharCompare(argument, "ENABLE")) {
				CMD_excuteSIM_ENABLE();
			} else if(WeakCharCompare(argument, "DISABLE")) {
				CMD_excuteSIM_DISABLE();
			} else if(WeakCharCompare(argument, "ACTIVATE")) {
				CMD_excuteSIM_ACTIVATE();
			}
			break;
		}
		case RX_CMD_REL: {
			if(WeakCharCompare(argument, "HS")) {
				CMD_excuteREL_HS();
			}
			break;
		}
		case RX_CMD_DEP: {
			if(WeakCharCompare(argument, "PC")) {
				CMD_excuteDEP_PC();
			}
			break;
		}
		case RX_CMD_RESET: {
			CMD_excuteRESET();
			break;
		}
		case RX_CMD_INIT: {
			CMD_excuteINIT();
			break;
		}
		case RX_CMD_SIMP: {
			sim_pressure = atoi((char*) argument)*100;
			cmd_echo = ECHO_SIMP;
			break;
		}
		default:
			break;
		}

	} else if (cmd == RX_HEADER_ACK) {
		ack_packet = data[9] << 8;
		ack_packet |= data[10];
		osEventFlagsSet(EventReceiveHandle, EVENT_RECEIVE_ACK);
	}
}

/* USER CODE END 4 */

void vMainTask(void *argument)
{
  /* init code for USB_DEVICE */
  MX_USB_DEVICE_Init();
  /* USER CODE BEGIN 5 */
  /* Infinite loop */

  HAL_GPIO_WritePin(GPIOA, GPIO_PIN_10, GPIO_PIN_RESET);
  osDelay(100);
  HAL_GPIO_WritePin(GPIOA, GPIO_PIN_10, GPIO_PIN_SET);
  //HAL_UART_Receive_IT(&huart3, (uint8_t *) buffer, sizeof(buffer));
  //uint8_t data[]= {0x7E, 0x00, 0x0A, 0x01, 0x01, 0xCC, 0xCC, 0x00, 0x48, 0x65, 0x6C, 0x6C, 0x6F, 0x71};
  Buzzer_Once();
  osDelay(100);
  Buzzer_Once();

  uint32_t flags;

  //CameraOff();

  for(;;)
  {
  	flags = osEventFlagsWait(CommandEventHandle, ACT_CAMERA, osFlagsWaitAny, 1000);
    HAL_GPIO_TogglePin(GPIOA, GPIO_PIN_5);
    if(flags & osFlagsError) { continue; }
    if(flags & ACT_CAMERA) {
    	HAL_GPIO_WritePin(GPIOA, GPIO_PIN_5, GPIO_PIN_SET);
    	//CameraOn();
    	//CameraRecord();
    }
  }
  /* USER CODE END 5 */
}

void vGPSTask(void *argument)
{
  /* USER CODE BEGIN vGPSTask */
  /* Infinite loop */
	// Task for gathering NMEA message from GPS module using UART1 port
	uint32_t flags;
	GPS_Packet packet;

	uint32_t sentence;
	RTC_TimeTypeDef time = {0};

	HAL_UART_Receive_DMA(&huart1, uart1_rx_buffer, sizeof(uart1_rx_buffer));
  for(;;)
  {
  	flags = osEventFlagsWait(EventReceiveHandle, EVENT_RECEIVE_GPS, osFlagsWaitAny, osWaitForever);

  	// Validation check
  	if(flags & osFlagsError) { continue; }
  	if(!(flags & EVENT_RECEIVE_GPS)){ continue; }
  	if(!(flags & EVENT_RECEIVE_SUCCESS)) { continue; }
		osSemaphoreAcquire(ReceiveSemaphoreHandle, 10);
		memset(&packet, 0, sizeof(packet));
		memcpy(packet.data, gps_rx_buffer.buffer, gps_rx_buffer.length);
		memcpy(packet.deviceID, gps_rx_buffer.deviceID,2);
		memcpy(packet.sentenceID, gps_rx_buffer.sentenceID,3);
		packet.length = gps_rx_buffer.length;
		osSemaphoreRelease(ReceiveSemaphoreHandle);

		sentence = (packet.sentenceID[0] << 16) | (packet.sentenceID[1] << 8) | (packet.sentenceID[2]);
		switch(sentence) {
		case GPS_SENTENCE_GGA: {
			GPS_NMEA_parseGGA(packet.data, &gps_data);
			if(isTimeSetGPS) {
				time.Hours = gps_data.hours;
				time.Minutes = gps_data.minutes;
				time.Seconds = gps_data.seconds;
				HAL_RTC_SetTime(&hrtc, &time, RTC_FORMAT_BIN);
				isTimeSetGPS = FALSE;
			}
		}
		}
	}
  /* USER CODE END vGPSTask */
}

void vStateManagingTask(void *argument)
{
  /* USER CODE BEGIN vStateManagingTask */
	// only cares about automatic state transfer from altitude change
//	VehicleStateTypeDef vehicle_state;

	if(HAL_RTCEx_BKUPRead(&hrtc, RTC_BKP_DR0)!= 0){
		BackupRecovery();
	}

	int32_t altitude = 0, old_altitude = 0, max_altitude = 0;
  /* Infinite loop */
  for(;;)
  {
  	osDelay(100);
  	if(sensor_data_container.isUpdated == FALSE) { continue; }

  	old_altitude = altitude;
  	altitude = sensor_data_container.altitude;
  	max_altitude = MAX(altitude,max_altitude);
  	sensor_data_container.isUpdated = FALSE;

  	switch(vehicle_state & STATE_MASK) {
  	case STATE_LAUNCH_WAIT: {
  		if (altitude > VEHICLE_ASCENT_THRESHOLD) {
  			vehicle_state = (vehicle_state & STATE_MASK_SIMULATION) | STATE_ASCENT;
  			Backup();
  		}
  		break;
  	}
  	case STATE_ASCENT: {
  		if (max_altitude - altitude > VEHICLE_HS_THRESHOLD && altitude > 300){
  			isHSDeployed = TRUE;

  			// deploy heat shield
  			Servo_Write(&hservo1, 180);

  			vehicle_state = (vehicle_state & STATE_MASK_SIMULATION) | STATE_HS_DEPLOYED;
  			Backup();
  		}
  	  break;
  	}
  	case STATE_HS_DEPLOYED: {
  		if (altitude < VEHICLE_PC_THRESHOLD){
  			isPCDeployed = TRUE;

  			// release heat shield
  			Servo_Write(&hservo2, 0);
  			// deploy parachute
  			Servo_Write(&hservo3, 180);

  			vehicle_state = (vehicle_state & STATE_MASK_SIMULATION) | STATE_PC_DEPLOYED;
  			Backup();
  		}
  	  break;
  	}
  	case STATE_PC_DEPLOYED: {
  		if (abs(old_altitude - altitude) < VEHICLE_LAND_THRESHOLD && altitude < VEHICLE_ASCENT_THRESHOLD){
  			vehicle_state = (vehicle_state & STATE_MASK_SIMULATION) | STATE_LANDED;
  			Backup();
  		}
  	  break;
  	}
  	case STATE_LANDED: {
  		Buzzer_On();
  		break;
  	}
  	}
  	// add blocking end here
  }
  /* USER CODE END vStateManagingTask */
}

void vReceiveTask(void *argument)
{
  /* USER CODE BEGIN vReceiveTask */
  /* Infinite loop */
	uint32_t flags;
	XBEE_Packet packet;
	uint8_t RFdata[PACKET_SIZE];

	HAL_UART_Receive_DMA(&huart3, uart3_rx_buffer, sizeof(uart3_rx_buffer));
  for(;;)
  {
  	flags = osEventFlagsWait(EventReceiveHandle, EVENT_RECEIVE_XBEE, osFlagsWaitAny, osWaitForever);

  	// Validation Check;
  	if(flags & osFlagsError) { continue; }
  	if(!(flags & EVENT_RECEIVE_XBEE)) { continue; }
  	if(!(flags & EVENT_RECEIVE_SUCCESS)) { continue; }

		// Block to acquire data
		osSemaphoreAcquire(ReceiveSemaphoreHandle, 10);
		memset(&packet, 0, sizeof(packet));
		memcpy(packet.data, xbee_rx_buffer.buffer, xbee_rx_buffer.length);
		packet.length = xbee_rx_buffer.length;
		osSemaphoreRelease(ReceiveSemaphoreHandle);

		// Packet check
		if (packet.length < 6) { continue; }

		// Processing
  	switch(packet.data[0]) {
  	case FRAME_TYPE_RX: {
  		memset(RFdata, 0, sizeof(RFdata));
  		memcpy(RFdata, packet.data+5, packet.length-5);
  		RFParsing(RFdata, packet.length-5);
  	}
  	}
  }
  /* USER CODE END vReceiveTask */
}

void vDebugTask(void *argument)
{
  /* USER CODE BEGIN vDebugTask */
  /* Infinite loop */
	uint32_t event_flag;
	uint16_t cmd = 0;

	for (;;) {
		event_flag = osEventFlagsWait(EventReceiveHandle, EVENT_RECEIVE_USB, osFlagsWaitAny, osWaitForever);
		if(event_flag & osFlagsError) { continue; }

		if (event_flag & EVENT_RECEIVE_USB) {
#ifdef DEBUG_MODE
			Buzzer_Once();
			memcpy(&cmd, usb_rx_buffer.buffer, DEBUG_CMD_SIZE);
			switch (cmd) {
			case DEBUG_CMD_BUZZER:
				logd("Buzzer");
				osDelay(100);
				Buzzer_Once();
				osDelay(100);
				Buzzer_Once();
				break;
			case DEBUG_CMD_SERVO_180:
				logd("Servo 180");
				Servo_Write(&hservo2, 180);
				break;
			case DEBUG_CMD_SERVO_0:
				logd("Servo 0");
				Servo_Write(&hservo2, 0);
				break;
			case DEBUG_CMD_CALIBRATION:
				//logd("%d", Calibrate());
				break;
			case DEBUG_CMD_CAMERA_ON:
				HAL_GPIO_WritePin(GPIOC, GPIO_PIN_2, GPIO_PIN_SET);
				osDelay(1000);
				HAL_GPIO_WritePin(GPIOC, GPIO_PIN_2, GPIO_PIN_RESET);
				osDelay(500);
				Buzzer_Once();
				HAL_GPIO_WritePin(GPIOC, GPIO_PIN_2, GPIO_PIN_SET);
				osDelay(8000);
				HAL_GPIO_WritePin(GPIOC, GPIO_PIN_2, GPIO_PIN_RESET);
				Buzzer_Once();
				osDelay(500);
				HAL_GPIO_WritePin(GPIOC, GPIO_PIN_2, GPIO_PIN_SET);
				osDelay(1000);
				HAL_GPIO_WritePin(GPIOC, GPIO_PIN_2, GPIO_PIN_RESET);
				Buzzer_Once();
				break;
			case DEBUG_CMD_RECORD:
				HAL_GPIO_WritePin(GPIOC, GPIO_PIN_2, GPIO_PIN_SET);
				osDelay(100);
				HAL_GPIO_WritePin(GPIOC, GPIO_PIN_2, GPIO_PIN_RESET);
				break;
				/*
			case DEBUG_CMD_PRESSURE:
				logd("Pressure");

				if (BMP390_ReadRawPressure(&buffer, 10) != HAL_OK) {
					logi("BMP Read Pressure Error.");
				}
				sensor_data.pressure = BMP390_CompensatePressure(buffer);

				if (BMP390_ReadRawTemperature(&buffer, 10) != HAL_OK) {
					logi("BMP Read Temperature Error.");
				}
				sensor_data.temperature = BMP390_CompensateTemperature(buffer);

				logd("Temperature %f / pressure %f", sensor_data.temperature,
						sensor_data.pressure);

				break;
				*/
			}
#endif /* ifdef DEBUG */
		}
	}
  /* USER CODE END vDebugTask */
}

void vTransmitLoopTask(void *argument)
{
  /* USER CODE BEGIN vTransmitLoopTask */
  /* Infinite loop */
	Telemetry tle;
	uint32_t flags;
  for(;;)
  {
  	flags = osEventFlagsWait(EventReceiveHandle, EVENT_RECEIVE_PUSH, osFlagsWaitAny, 1000);
  	if(flags & osFlagsError) { continue; }
  	if(!(flags & EVENT_RECEIVE_PUSH)) { continue; }

  	if(cb_value(&cb_tle, &tle) != cb_ok) {
  		continue;
  	}

  	SendTelemetry(&tle);

  	flags = osEventFlagsWait(EventReceiveHandle, EVENT_RECEIVE_ACK, osFlagsWaitAny, 200);

  	if(!(flags & osFlagsError) && (flags & EVENT_RECEIVE_ACK)) {
  		while (1) {
  			cb_value(&cb_tle, &tle);
  			if(tle.packet_count <= ack_packet) {
  				if(cb_pop(&cb_tle, &tle) != osOK)
  					break;
  			} else {
  				break;
  			}
  		}

  		if(cb_count(&cb_tle) > 0) {
  			osEventFlagsSet(EventReceiveHandle, EVENT_RECEIVE_PUSH);
  		}
  	}

  	osDelay(10);
  }
  /* USER CODE END vTransmitLoopTask */
}

/* vSensorReadingCallback function */
void vSensorReadingCallback(void *argument)
{
	if(osSemaphoreAcquire(TransmitSemaphoreHandle, 100) != osOK) {
		return;
	}

  /* USER CODE BEGIN vSensorReadingCallback */
	int64_t temperature;
	uint64_t pressure;
	bno055_vector_t bno055vector;
	double acc_x, acc_y, acc_z;
	double rot_x, rot_y, rot_z;
	double mag_x, mag_y, mag_z;
	double ang_x, ang_y, ang_z;
	double tilt_x, tilt_y;
	uint16_t adc_0, adc_1;
	float altitude;
	float battery_voltage;
	float air_speed;

	// read bmp390
	BMP390_GetValue(&temperature, &pressure, 50);

	if(isSimulationMode == TRUE ){
		pressure = sim_pressure;
	}

	// read bno055
	bno055vector = bno055_getVectorAccelerometer();
	acc_x = bno055vector.x;
	acc_y = bno055vector.y;
	acc_z = bno055vector.z;
	bno055vector = bno055_getVectorGyroscope();
	rot_x = bno055vector.x;
	rot_y = bno055vector.y;
	rot_z = bno055vector.z;
	bno055vector = bno055_getVectorMagnetometer();
	mag_x = bno055vector.x;
	mag_y = bno055vector.y;
	mag_z = bno055vector.z;
	bno055vector = bno055_getVectorEuler();
  ang_x = bno055vector.x;
  ang_y = bno055vector.y;
  ang_z = bno055vector.z;

	// read ADC1 CH0
	HAL_ADC_Start(&hadc1);
	HAL_ADC_PollForConversion(&hadc1, 50);
	adc_0 = HAL_ADC_GetValue(&hadc1);

	// read ADC1 CH1
	HAL_ADC_Start(&hadc1);
	HAL_ADC_PollForConversion(&hadc1, 50);
	adc_1 = HAL_ADC_GetValue(&hadc1);

	// calculate altitude
  /*
  	 * Solve:
  	 *
  	 *     /        -(aR / g)     \
  	 *    | (p / p1)          . T1 | - T1
  	 *     \                      /
  	 * h = -------------------------------  + h1
  	 *                   a
  	 * a:  temperature gradient
  	 * R:  gas constant of air
  	 * g:  gravity constant
  	 * p:  pressure
  	 * p1: pressure, sea level
  	 * T1: temperature, sea level
  	 */

  double pressure_ratio = pressure * r_pressure_sea_level;
  altitude = (powf(pressure_ratio, ALTITUDE_POWER_COEFFICIENT) - 1) * ALTITUDE_PRODUCT_COEFFICIENT; // *100

  // calculate tilt angle
  double total_xz = sqrt(acc_x*acc_x + acc_z*acc_z);
  double total_yz = sqrt(acc_y*acc_y + acc_z*acc_z);
  tilt_x = atan2( acc_x / total_xz, acc_z / total_xz );
  tilt_y = atan2( acc_y / total_yz, acc_z / total_yz );

	// calculate battery voltage
  //battery_voltage = ADC1_CH0 / 4015 * 3.3 * 1.5 * 100;
  //battery_voltage = ADC1_CH0 * 0.123287671232877;
  battery_voltage = adc_0 / 4095.0 * 3.3 * 1.5;

	// calculate air speed
  air_speed = DP_calculateAirSpeedIncomp(adc_1, pressure / 100.f, temperature / 100.f);
  air_speed /= 100;

	// move data to sensor data container
  sensor_data_container.pressure = pressure;
  sensor_data_container.temperature = temperature / 100.0f;
  sensor_data_container.acc_x = acc_x;
  sensor_data_container.acc_y = acc_y;
  sensor_data_container.acc_z = acc_z;
  sensor_data_container.rot_x = rot_x;
  sensor_data_container.rot_y = rot_y;
  sensor_data_container.rot_z = rot_z;
  sensor_data_container.mag_x = mag_x;
  sensor_data_container.mag_y = mag_y;
  sensor_data_container.mag_z = mag_z;
  sensor_data_container.ang_x = ang_x;
  sensor_data_container.ang_y = ang_y;
  sensor_data_container.ang_z = ang_z;
  sensor_data_container.adc_0 = adc_0;
  sensor_data_container.adc_1 = adc_1;
  sensor_data_container.altitude = altitude;
  sensor_data_container.tilt_x = tilt_x;
  sensor_data_container.tilt_y = tilt_y;
  sensor_data_container.battery_voltage = battery_voltage;
  sensor_data_container.air_speed = air_speed;
  sensor_data_container.isUpdated = TRUE;

  osSemaphoreRelease(TransmitSemaphoreHandle);
  //logd("sensor");
  /* USER CODE END vSensorReadingCallback */
}

/* vTransmitCallback function */
void vTransmitCallback(void *argument)
{
  /* USER CODE BEGIN vTransmitCallback */
	if(isCommunication != IH_CX_ON) { return; }

	// Making Telemetry
	UpdateTime();
	telemetry.team_id = 2036;
	telemetry.hours = sTime.Hours;
	telemetry.minutes = sTime.Minutes;
	telemetry.seconds = sTime.Seconds;
	telemetry.subseconds = g_SubSeconds;
	telemetry.packet_count = packetCount++;
	telemetry.mode = isSimulationMode;
	telemetry.state = vehicle_state;
	telemetry.altitude = sensor_data_container.altitude;
	telemetry.air_speed = sensor_data_container.air_speed;
	telemetry.heat_shield = isHSDeployed;
	telemetry.parachute = isPCDeployed;
	telemetry.temperature = sensor_data_container.temperature;
	telemetry.voltage = sensor_data_container.battery_voltage;
	telemetry.pressure = sensor_data_container.pressure /100000.0f;
	telemetry.GPS_time_hours = gps_data.hours;
	telemetry.GPS_time_minutes = gps_data.minutes;
	telemetry.GPS_time_seconds = gps_data.seconds;
	telemetry.GPS_altitude = gps_data.altitude;
	telemetry.GPS_latitude = gps_data.latitude;
	telemetry.GPS_longitude = gps_data.longitude;
	telemetry.GPS_sats = gps_data.satellites;
	telemetry.tilt_x = sensor_data_container.tilt_x *180/PI; // Axis Change
	telemetry.tilt_y = sensor_data_container.tilt_y *180/PI;
	telemetry.rot_z = sensor_data_container.rot_z;
	telemetry.cmd_echo = cmd_echo;

	// Push Telemetry
	cb_push(&cb_tle, &telemetry);
	osEventFlagsSet(EventReceiveHandle, EVENT_RECEIVE_PUSH);

	logd("send : %d, %d", telemetry.packet_count, cb_count(&cb_tle));
	HAL_RTCEx_BKUPWrite(&hrtc, RTC_BKP_DR1,		packetCount);
  /* USER CODE END vTransmitCallback */
}

void HAL_TIM_PeriodElapsedCallback(TIM_HandleTypeDef *htim)
{
  if (htim->Instance == TIM6) {
    HAL_IncTick();
  }
}

void Error_Handler(void)
{
  /* USER CODE BEGIN Error_Handler_Debug */
  /* User can add his own implementation to report the HAL error return state */
  printf("Error_Handler\r\n");
  __disable_irq();

  while (1)
  {
	  break;
  }
  /* USER CODE END Error_Handler_Debug */
}
